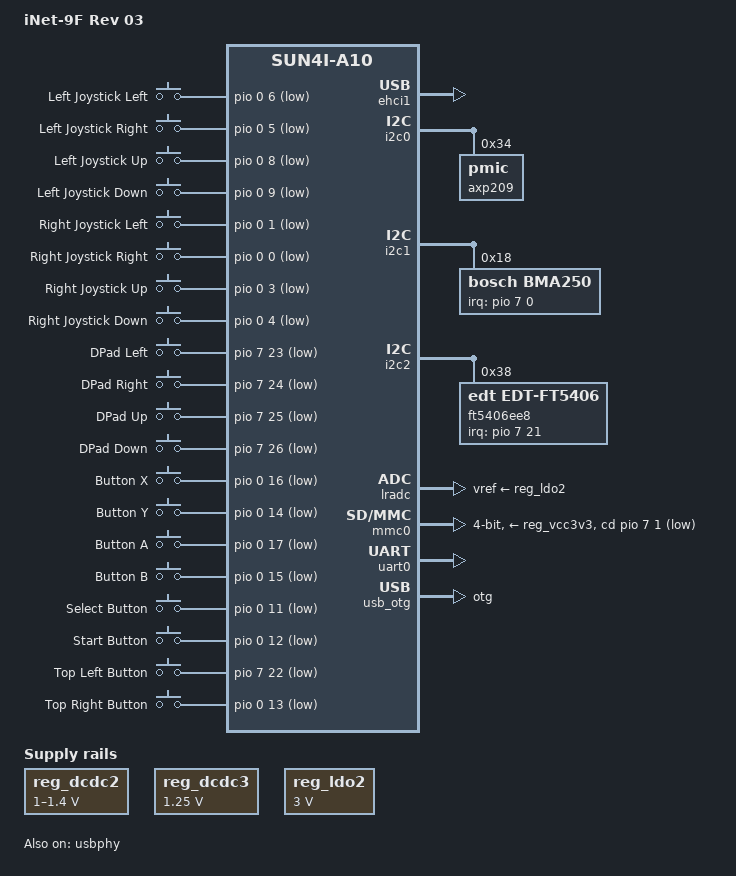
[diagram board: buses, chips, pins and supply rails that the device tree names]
/*
 * Copyright 2015 Hans de Goede <hdegoede@redhat.com>
 *
 * This file is dual-licensed: you can use it either under the terms
 * of the GPL or the X11 license, at your option. Note that this dual
 * licensing only applies to this file, and not this project as a
 * whole.
 *
 *  a) This file is free software; you can redistribute it and/or
 *     modify it under the terms of the GNU General Public License as
 *     published by the Free Software Foundation; either version 2 of the
 *     License, or (at your option) any later version.
 *
 *     This file is distributed in the hope that it will be useful,
 *     but WITHOUT ANY WARRANTY; without even the implied warranty of
 *     MERCHANTABILITY or FITNESS FOR A PARTICULAR PURPOSE.  See the
 *     GNU General Public License for more details.
 *
 * Or, alternatively,
 *
 *  b) Permission is hereby granted, free of charge, to any person
 *     obtaining a copy of this software and associated documentation
 *     files (the "Software"), to deal in the Software without
 *     restriction, including without limitation the rights to use,
 *     copy, modify, merge, publish, distribute, sublicense, and/or
 *     sell copies of the Software, and to permit persons to whom the
 *     Software is furnished to do so, subject to the following
 *     conditions:
 *
 *     The above copyright notice and this permission notice shall be
 *     included in all copies or substantial portions of the Software.
 *
 *     THE SOFTWARE IS PROVIDED "AS IS", WITHOUT WARRANTY OF ANY KIND,
 *     EXPRESS OR IMPLIED, INCLUDING BUT NOT LIMITED TO THE WARRANTIES
 *     OF MERCHANTABILITY, FITNESS FOR A PARTICULAR PURPOSE AND
 *     NONINFRINGEMENT. IN NO EVENT SHALL THE AUTHORS OR COPYRIGHT
 *     HOLDERS BE LIABLE FOR ANY CLAIM, DAMAGES OR OTHER LIABILITY,
 *     WHETHER IN AN ACTION OF CONTRACT, TORT OR OTHERWISE, ARISING
 *     FROM, OUT OF OR IN CONNECTION WITH THE SOFTWARE OR THE USE OR
 *     OTHER DEALINGS IN THE SOFTWARE.
 */

/dts-v1/;
#include "sun4i-a10.dtsi"
#include "sunxi-common-regulators.dtsi"
#include <dt-bindings/gpio/gpio.h>
#include <dt-bindings/input/input.h>
#include <dt-bindings/interrupt-controller/irq.h>

/ {
	model = "iNet-9F Rev 03";
	compatible = "inet-tek,inet9f-rev03", "allwinner,sun4i-a10";

	aliases {
		serial0 = &uart0;
	};

	chosen {
		stdout-path = "serial0:115200n8";
	};

	gpio-keys {
		compatible = "gpio-keys-polled";
		pinctrl-names = "default";
		pinctrl-0 = <&key_pins_inet9f>;
		#address-cells = <1>;
		#size-cells = <0>;
		poll-interval = <20>;

		left-joystick-left {
			label = "Left Joystick Left";
			linux,code = <ABS_X>;
			linux,input-type = <EV_ABS>;
			linux,input-value = <0xffffffff>; /* -1 */
			gpios = <&pio 0 6 GPIO_ACTIVE_LOW>; /* PA6 */
		};

		left-joystick-right {
			label = "Left Joystick Right";
			linux,code = <ABS_X>;
			linux,input-type = <EV_ABS>;
			linux,input-value = <1>;
			gpios = <&pio 0 5 GPIO_ACTIVE_LOW>; /* PA5 */
		};

		left-joystick-up {
			label = "Left Joystick Up";
			linux,code = <ABS_Y>;
			linux,input-type = <EV_ABS>;
			linux,input-value = <0xffffffff>; /* -1 */
			gpios = <&pio 0 8 GPIO_ACTIVE_LOW>; /* PA8 */
		};

		left-joystick-down {
			label = "Left Joystick Down";
			linux,code = <ABS_Y>;
			linux,input-type = <EV_ABS>;
			linux,input-value = <1>;
			gpios = <&pio 0 9 GPIO_ACTIVE_LOW>; /* PA9 */
		};

		right-joystick-left {
			label = "Right Joystick Left";
			linux,code = <ABS_Z>;
			linux,input-type = <EV_ABS>;
			linux,input-value = <0xffffffff>; /* -1 */
			gpios = <&pio 0 1 GPIO_ACTIVE_LOW>; /* PA1 */
		};

		right-joystick-right {
			label = "Right Joystick Right";
			linux,code = <ABS_Z>;
			linux,input-type = <EV_ABS>;
			linux,input-value = <1>;
			gpios = <&pio 0 0 GPIO_ACTIVE_LOW>; /* PA0 */
		};

		right-joystick-up {
			label = "Right Joystick Up";
			linux,code = <ABS_RZ>;
			linux,input-type = <EV_ABS>;
			linux,input-value = <0xffffffff>; /* -1 */
			gpios = <&pio 0 3 GPIO_ACTIVE_LOW>; /* PA3 */
		};

		right-joystick-down {
			label = "Right Joystick Down";
			linux,code = <ABS_RZ>;
			linux,input-type = <EV_ABS>;
			linux,input-value = <1>;
			gpios = <&pio 0 4 GPIO_ACTIVE_LOW>; /* PA4 */
		};

		dpad-left {
			label = "DPad Left";
			linux,code = <ABS_HAT0X>;
			linux,input-type = <EV_ABS>;
			linux,input-value = <0xffffffff>; /* -1 */
			gpios = <&pio 7 23 GPIO_ACTIVE_LOW>; /* PH23 */
		};

		dpad-right {
			label = "DPad Right";
			linux,code = <ABS_HAT0X>;
			linux,input-type = <EV_ABS>;
			linux,input-value = <1>;
			gpios = <&pio 7 24 GPIO_ACTIVE_LOW>; /* PH24 */
		};

		dpad-up {
			label = "DPad Up";
			linux,code = <ABS_HAT0Y>;
			linux,input-type = <EV_ABS>;
			linux,input-value = <0xffffffff>; /* -1 */
			gpios = <&pio 7 25 GPIO_ACTIVE_LOW>; /* PH25 */
		};

		dpad-down {
			label = "DPad Down";
			linux,code = <ABS_HAT0Y>;
			linux,input-type = <EV_ABS>;
			linux,input-value = <1>;
			gpios = <&pio 7 26 GPIO_ACTIVE_LOW>; /* PH26 */
		};

		x {
			label = "Button X";
			linux,code = <BTN_X>;
			gpios = <&pio 0 16 GPIO_ACTIVE_LOW>; /* PA16 */
		};

		y {
			label = "Button Y";
			linux,code = <BTN_Y>;
			gpios = <&pio 0 14 GPIO_ACTIVE_LOW>; /* PA14 */
		};

		a {
			label = "Button A";
			linux,code = <BTN_A>;
			gpios = <&pio 0 17 GPIO_ACTIVE_LOW>; /* PA17 */
		};

		b {
			label = "Button B";
			linux,code = <BTN_B>;
			gpios = <&pio 0 15 GPIO_ACTIVE_LOW>; /* PA15 */
		};

		select {
			label = "Select Button";
			linux,code = <BTN_SELECT>;
			gpios = <&pio 0 11 GPIO_ACTIVE_LOW>; /* PA11 */
		};

		start {
			label = "Start Button";
			linux,code = <BTN_START>;
			gpios = <&pio 0 12 GPIO_ACTIVE_LOW>; /* PA12 */
		};

		top-left {
			label = "Top Left Button";
			linux,code = <BTN_TL>;
			gpios = <&pio 7 22 GPIO_ACTIVE_LOW>; /* PH22 */
		};

		top-right {
			label = "Top Right Button";
			linux,code = <BTN_TR>;
			gpios = <&pio 0 13 GPIO_ACTIVE_LOW>; /* PA13 */
		};
	};
};

&cpu0 {
	cpu-supply = <&reg_dcdc2>;
};

&ehci1 {
	status = "okay";
};

&i2c0 {
	status = "okay";

	axp209: pmic@34 {
		reg = <0x34>;
		interrupts = <0>;
	};
};

#include "axp209.dtsi"

&i2c1 {
	status = "okay";

	/* Accelerometer */
	bma250@18 {
		compatible = "bosch,bma250";
		reg = <0x18>;
		interrupt-parent = <&pio>;
		interrupts = <7 0 IRQ_TYPE_EDGE_RISING>; /* PH0 / EINT0 */
	};
};

&i2c2 {
	status = "okay";

	ft5406ee8: touchscreen@38 {
		compatible = "edt,edt-ft5406";
		reg = <0x38>;
		interrupt-parent = <&pio>;
		interrupts = <7 21 IRQ_TYPE_EDGE_FALLING>;
		touchscreen-size-x = <800>;
		touchscreen-size-y = <480>;
	};
};

&lradc {
	vref-supply = <&reg_ldo2>;
	status = "okay";

	button-200 {
		label = "Menu";
		linux,code = <KEY_MENU>;
		channel = <0>;
		voltage = <200000>;
	};

	button-600 {
		label = "Volume Up";
		linux,code = <KEY_VOLUMEUP>;
		channel = <0>;
		voltage = <600000>;
	};

	button-800 {
		label = "Volume Down";
		linux,code = <KEY_VOLUMEDOWN>;
		channel = <0>;
		voltage = <800000>;
	};

	button-1000 {
		label = "Home";
		linux,code = <KEY_HOMEPAGE>;
		channel = <0>;
		voltage = <1000000>;
	};

	button-1200 {
		label = "Esc";
		linux,code = <KEY_ESC>;
		channel = <0>;
		voltage = <1200000>;
	};
};

&mmc0 {
	vmmc-supply = <&reg_vcc3v3>;
	bus-width = <4>;
	cd-gpios = <&pio 7 1 GPIO_ACTIVE_LOW>; /* PH1 */
	status = "okay";
};

&otg_sram {
	status = "okay";
};

&pio {
	key_pins_inet9f: key-pins {
		pins = "PA0", "PA1", "PA3", "PA4",
		       "PA5", "PA6", "PA8", "PA9",
		       "PA11", "PA12", "PA13",
		       "PA14", "PA15", "PA16", "PA17",
		       "PH22", "PH23", "PH24", "PH25", "PH26";
		function = "gpio_in";
		bias-pull-up;
	};

	usb0_id_detect_pin: usb0-id-detect-pin {
		pins = "PH4";
		function = "gpio_in";
		bias-pull-up;
	};

	usb0_vbus_detect_pin: usb0-vbus-detect-pin {
		pins = "PH5";
		function = "gpio_in";
		bias-pull-down;
	};
};

&reg_dcdc2 {
	regulator-always-on;
	regulator-min-microvolt = <1000000>;
	regulator-max-microvolt = <1400000>;
	regulator-name = "vdd-cpu";
};

&reg_dcdc3 {
	regulator-always-on;
	regulator-min-microvolt = <1250000>;
	regulator-max-microvolt = <1250000>;
	regulator-name = "vdd-int-dll";
};

&reg_ldo1 {
	regulator-name = "vdd-rtc";
};

&reg_ldo2 {
	regulator-always-on;
	regulator-min-microvolt = <3000000>;
	regulator-max-microvolt = <3000000>;
	regulator-name = "avcc";
};

&reg_usb0_vbus {
	status = "okay";
};

&reg_usb2_vbus {
	status = "okay";
};

&uart0 {
	pinctrl-names = "default";
	pinctrl-0 = <&uart0_pb_pins>;
	status = "okay";
};

&usb_otg {
	dr_mode = "otg";
	status = "okay";
};

&usbphy {
	pinctrl-names = "default";
	pinctrl-0 = <&usb0_id_detect_pin>, <&usb0_vbus_detect_pin>;
	usb0_id_det-gpio = <&pio 7 4 GPIO_ACTIVE_HIGH>; /* PH4 */
	usb0_vbus_det-gpio = <&pio 7 5 GPIO_ACTIVE_HIGH>; /* PH5 */
	usb0_vbus-supply = <&reg_usb0_vbus>;
	usb2_vbus-supply = <&reg_usb2_vbus>;
	status = "okay";
};
